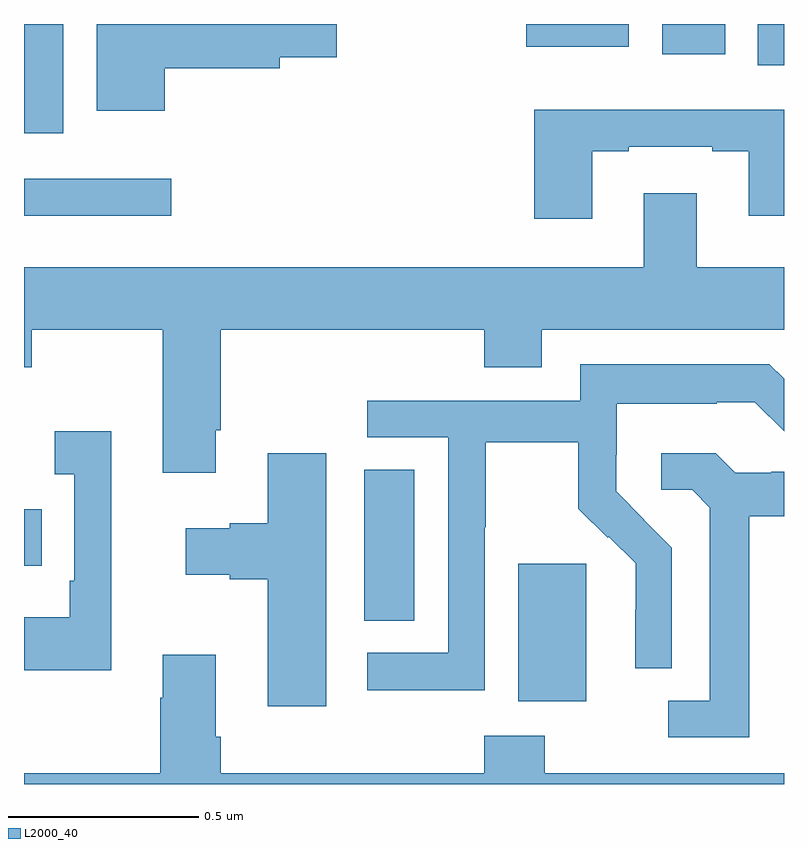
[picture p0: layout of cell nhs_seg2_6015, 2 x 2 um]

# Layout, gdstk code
import gdstk
lib = gdstk.Library(unit=1e-6, precision=1e-09)
def R(c, l, rs):  # rectangles x0, y0, x1, y1
    for r in rs: c.add(gdstk.rectangle(r[:2], r[2:], *l))
def P(c, l, *ps):  # polygons
    for p in ps: c.add(gdstk.Polygon(p, *l))
L2000_40 = (2000, 40)

nhs_seg2_6015 = lib.new_cell('nhs_seg2_6015')
R(nhs_seg2_6015, L2000_40, [(187.301,620.018,187.48,620.379), (186.896,620.23,187.027,620.627), (186,620.375,186.047,620.523), (186,621.296,186.388,621.393), (186,621.513,186.103,621.8), (187.931,621.692,188,621.8), (187.679,621.72,187.846,621.8), (187.322,621.74,187.591,621.8)])
P(nhs_seg2_6015, L2000_40, [(186.37,621.683),(186.673,621.683),(186.673,621.713),(186.823,621.713),(186.823,621.8),(186.191,621.8),(186.191,621.572),(186.37,621.572)],
  [(187.495,621.465),(187.591,621.465),(187.591,621.477),(187.811,621.477),(187.811,621.465),(187.907,621.465),(187.907,621.296),(188,621.296),(188,621.574),(187.343,621.574),(187.343,621.288),(187.495,621.288)],
  [(186.505,620.731),(186.518,620.731),(186.518,620.996),(187.211,620.996),(187.211,620.897),(187.363,620.897),(187.363,620.996),(188,620.996),(188,621.16),(187.771,621.16),(187.771,621.355),(187.631,621.355),(187.631,621.16),(186,621.16),(186,620.897),(186.021,620.897),(186.021,620.996),(186.365,620.996),(186.365,620.619),(186.505,620.619)],
  [(187.212,620.476),(187.215,620.476),(187.215,620.7),(187.459,620.7),(187.459,620.525),(187.536,620.448),(187.539,620.451),(187.61,620.381),(187.61,620.258),(187.608,620.258),(187.608,620.104),(187.704,620.104),(187.704,620.422),(187.631,620.495),(187.632,620.496),(187.558,620.57),(187.558,620.667),(187.56,620.667),(187.56,620.801),(187.823,620.801),(187.823,620.805),(187.923,620.805),(188,620.728),(188,620.866),(187.961,620.905),(187.464,620.905),(187.464,620.808),(186.903,620.808),(186.903,620.712),(187.116,620.712),(187.116,620.145),(186.903,620.145),(186.903,620.047),(187.212,620.047)],
  [(186.23,620.728),(186.081,620.728),(186.081,620.615),(186.132,620.615),(186.132,620.335),(186.12,620.335),(186.12,620.239),(186,620.239),(186,620.099),(186.23,620.099)],
  [(187.909,620.504),(188,620.504),(188,620.622),(187.966,620.622),(187.966,620.619),(187.872,620.619),(187.82,620.671),(187.677,620.671),(187.677,620.574),(187.758,620.574),(187.805,620.527),(187.805,620.019),(187.695,620.019),(187.695,619.923),(187.909,619.923)],
  [(186.796,620.671),(186.641,620.671),(186.641,620.486),(186.542,620.486),(186.542,620.473),(186.426,620.473),(186.426,620.351),(186.542,620.351),(186.542,620.339),(186.641,620.339),(186.641,620.004),(186.796,620.004)],
  [(188,619.828),(187.371,619.828),(187.371,619.927),(187.211,619.927),(187.211,619.828),(186.518,619.828),(186.518,619.924),(186.505,619.924),(186.505,620.14),(186.365,620.14),(186.365,620.027),(186.358,620.027),(186.358,619.828),(186,619.828),(186,619.8),(188,619.8)])

lib.write_gds('nhs_seg2_6015.gds')
